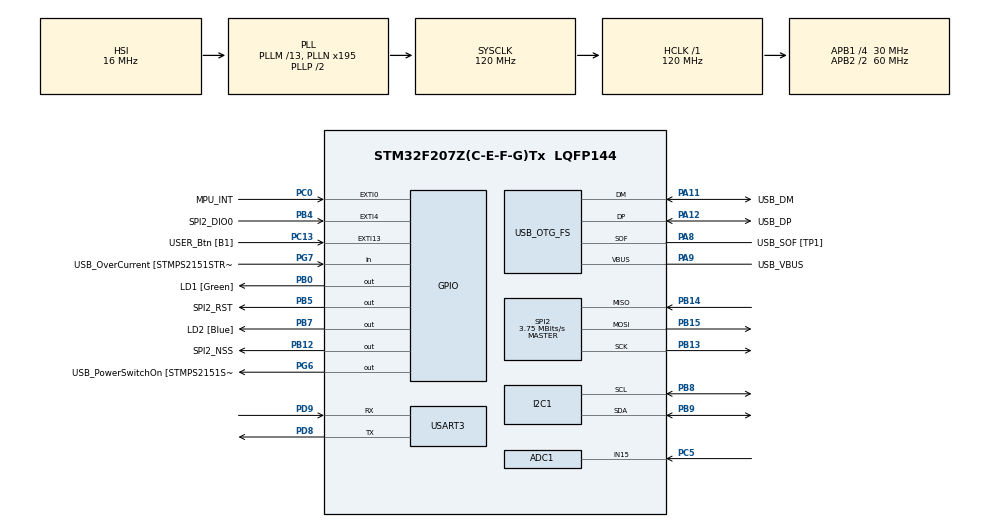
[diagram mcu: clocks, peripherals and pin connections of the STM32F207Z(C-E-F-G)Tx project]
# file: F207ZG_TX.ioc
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ADC1.Channel-0\#ChannelRegularConversion=ADC_CHANNEL_15
ADC1.NbrOfConversionFlag=1
ADC1.Rank-0\#ChannelRegularConversion=1
ADC1.SamplingTime-0\#ChannelRegularConversion=ADC_SAMPLETIME_3CYCLES
ADC1.master=1
Mcu.Family=STM32F2
Mcu.Name=STM32F207Z(C-E-F-G)Tx
Mcu.Package=LQFP144
NVIC.EXTI0_IRQn=true\:0\:0\:false\:false\:true\:true\:true\:true
NVIC.PriorityGroup=NVIC_PRIORITYGROUP_4
PA1.GPIO_Label=RMII_REF_CLK [LAN8742A-CZ-TR_REFCLK0]
PA1.Signal=ETH_REF_CLK
PA10.GPIO_Label=USB_ID
PA10.Signal=USB_OTG_FS_ID
PA11.GPIO_Label=USB_DM
PA11.Mode=Device_Only
PA11.Signal=USB_OTG_FS_DM
PA12.GPIO_Label=USB_DP
PA12.Mode=Device_Only
PA12.Signal=USB_OTG_FS_DP
PA13.GPIO_Label=TMS
PA13.Mode=Serial_Wire
PA13.Signal=SYS_JTMS-SWDIO
PA14.GPIO_Label=TCK
PA14.Mode=Serial_Wire
PA14.Signal=SYS_JTCK-SWCLK
PA2.GPIO_Label=RMII_MDIO [LAN8742A-CZ-TR_MDIO]
PA2.Signal=ETH_MDIO
PA8.GPIO_Label=USB_SOF [TP1]
PA8.Mode=Activate_SOF_FS
PA8.Signal=USB_OTG_FS_SOF
PA9.GPIO_Label=USB_VBUS
PA9.Mode=Activate_VBUS
PA9.Signal=USB_OTG_FS_VBUS
PB0.GPIO_Label=LD1 [Green]
PB0.Signal=GPIO_Output
PB12.GPIO_Label=SPI2_NSS
PB12.Signal=GPIO_Output
PB13.Mode=Full_Duplex_Master
PB13.Signal=SPI2_SCK
PB14.Mode=Full_Duplex_Master
PB14.Signal=SPI2_MISO
PB15.Mode=Full_Duplex_Master
PB15.Signal=SPI2_MOSI
PB3.GPIO_Label=SWO
PB3.Signal=SYS_JTDO-SWO
PB4.GPIO_Label=SPI2_DIO0
PB4.Signal=GPXTI4
PB5.GPIO_Label=SPI2_RST
PB5.Signal=GPIO_Output
PB7.GPIO_Label=LD2 [Blue]
PB7.Signal=GPIO_Output
PB8.Mode=I2C
PB8.Signal=I2C1_SCL
PB9.Mode=I2C
PB9.Signal=I2C1_SDA
PC0.GPIO_Label=MPU_INT
PC0.Signal=GPXTI0
PC1.GPIO_Label=RMII_MDC [LAN8742A-CZ-TR_MDC]
PC1.Signal=ETH_MDC
PC13.GPIO_Label=USER_Btn [B1]
PC13.Signal=GPXTI13
PC14-OSC32_IN.Mode=LSE-External-Oscillator
PC14-OSC32_IN.Signal=RCC_OSC32_IN
PC15-OSC32_OUT.Mode=LSE-External-Oscillator
PC15-OSC32_OUT.Signal=RCC_OSC32_OUT
PC4.GPIO_Label=RMII_RXD0 [LAN8742A-CZ-TR_RXD0]
PC4.Signal=ETH_RXD0
PC5.Signal=ADCx_IN15
PD8.Mode=Asynchronous
PD8.Signal=USART3_TX
PD9.Mode=Asynchronous
PD9.Signal=USART3_RX
PG11.GPIO_Label=RMII_TX_EN [LAN8742A-CZ-TR_TXEN]
PG11.Signal=ETH_TX_EN
PG13.GPIO_Label=RMII_TXD0 [LAN8742A-CZ-TR_TXD0]
PG13.Signal=ETH_TXD0
PG6.GPIO_Label=USB_PowerSwitchOn [STMPS2151STR_EN]
PG6.Signal=GPIO_Output
PG7.GPIO_Label=USB_OverCurrent [STMPS2151STR_FAULT]
PG7.Signal=GPIO_Input
PH0-OSC_IN.GPIO_Label=MCO [STM32F103CBT6_PA8]
PH0-OSC_IN.Mode=HSE-External-Clock-Source
PH0-OSC_IN.Signal=RCC_OSC_IN
PH1-OSC_OUT.Mode=HSE-External-Clock-Source
PH1-OSC_OUT.Signal=RCC_OSC_OUT
ProjectManager.HeapSize=0x200
ProjectManager.StackSize=0x400
ProjectManager.TargetToolchain=STM32CubeIDE
RCC.48MHZClocksFreq_Value=48000000
RCC.AHBFreq_Value=120000000
RCC.APB1CLKDivider=RCC_HCLK_DIV4
RCC.APB1Freq_Value=30000000
RCC.APB1TimFreq_Value=60000000
RCC.APB2CLKDivider=RCC_HCLK_DIV2
RCC.APB2Freq_Value=60000000
RCC.APB2TimFreq_Value=120000000
RCC.CortexFreq_Value=120000000
RCC.HCLKFreq_Value=120000000
RCC.HSE_VALUE=8000000
RCC.HSI_VALUE=16000000
RCC.PLLM=13
RCC.PLLMUL=RCC_PLL_MUL9
RCC.PLLN=195
RCC.PLLQ=5
RCC.PRESCALERUSB=RCC_USBCLKSOURCE_PLL_DIV1_5
RCC.SYSCLKFreq_VALUE=120000000
RCC.SYSCLKSource=RCC_SYSCLKSOURCE_PLLCLK
RCC.SYSCLKSourceVirtual=RCC_SYSCLKSOURCE_PLLCLK
RCC.USBFreq_Value=48000000
RCC.VCOOutputFreq_Value=240000000
SH.ADCx_IN15.0=ADC1_IN15,IN15
SPI2.BaudRatePrescaler=SPI_BAUDRATEPRESCALER_8
SPI2.CRCCalculation=SPI_CRCCALCULATION_DISABLE
SPI2.CalculateBaudRate=3.75 MBits/s
SPI2.Direction=SPI_DIRECTION_2LINES
SPI2.Mode=SPI_MODE_MASTER
SPI2.VirtualType=VM_MASTER
USART3.VirtualMode=VM_ASYNC
USB_OTG_FS.VirtualMode=Device_Only
board=NUCLEO-F207ZG

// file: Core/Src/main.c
/* USER CODE BEGIN Header */
/**
 ******************************************************************************
 * @file           : main.c
 * @brief          : Main program body
 ******************************************************************************
 * @attention
 *
 * Copyright (c) 2026 STMicroelectronics.
 * All rights reserved.
 *
 * This software is licensed under terms that can be found in the LICENSE file
 * in the root directory of this software component.
 * If no LICENSE file comes with this software, it is provided AS-IS.
 *
 ******************************************************************************
 */
/* USER CODE END Header */
#include "main.h"

/* USER CODE BEGIN Includes */
#include "lora.h"
#include "mpu6050.h"
#include <math.h>
#include <stdio.h>
#include <string.h>

/* USER CODE END Includes */

ADC_HandleTypeDef hadc1;

I2C_HandleTypeDef hi2c1;

SPI_HandleTypeDef hspi2;

UART_HandleTypeDef huart3;

PCD_HandleTypeDef hpcd_USB_OTG_FS;

/* USER CODE BEGIN PV */
I2C_HandleTypeDef hi2c1;
MPU6050_t MPU6050;
uint8_t frame[23];
/* USER CODE END PV */

void SystemClock_Config(void);
static void MX_GPIO_Init(void);
static void MX_USART3_UART_Init(void);
static void MX_USB_OTG_FS_PCD_Init(void);
static void MX_I2C1_Init(void);
static void MX_ADC1_Init(void);
static void MX_SPI2_Init(void);
/* USER CODE BEGIN PFP */
void User_Periph_Init(void);
uint16_t crc16(const uint8_t *data, uint16_t len);
/* USER CODE END PFP */

/* USER CODE BEGIN 0 */
uint16_t crc16(const uint8_t *data, uint16_t len) {
  uint16_t crc = 0xFFFF;
  for (uint16_t i = 0; i < len; i++) {
    crc ^= (uint16_t)data[i] << 8;
    for (uint8_t j = 0; j < 8; j++) {
      if (crc & 0x8000)
        crc = (crc << 1) ^ 0x1021;
      else
        crc <<= 1;
    }
  }
  return crc;
}
/* USER CODE END 0 */

int main(void) {

  /* MCU Configuration--------------------------------------------------------*/

  /* Reset of all peripherals, Initializes the Flash interface and the Systick.
   */
  HAL_Init();

  /* Configure the system clock */
  SystemClock_Config();

  /* Initialize all configured peripherals */
  MX_GPIO_Init();
  MX_USART3_UART_Init();

  // Debug: confirm UART is alive
  HAL_UART_Transmit(&huart3, (uint8_t *)"UART OK\r\n", 9, 100);

  MX_USB_OTG_FS_PCD_Init();
  HAL_UART_Transmit(&huart3, (uint8_t *)"USB OK\r\n", 8, 100);

  MX_I2C1_Init();
  HAL_UART_Transmit(&huart3, (uint8_t *)"I2C1 OK\r\n", 9, 100);

  MX_ADC1_Init();
  HAL_UART_Transmit(&huart3, (uint8_t *)"ADC1 OK\r\n", 9, 100);

  MX_SPI2_Init();
  HAL_UART_Transmit(&huart3, (uint8_t *)"SPI2 OK\r\n", 9, 100);

  /* USER CODE BEGIN 2 */
  // Manually initialize I2C1 and Interrupts (since they aren't generated by
  // CubeMX yet)
  User_Periph_Init();
  HAL_UART_Transmit(&huart3, (uint8_t *)"Periph OK\r\n", 11, 100);

  // Debug: read version register raw before full init
  {
    char dbg[64];
    uint8_t ver = SX1278_ReadRegister(0x42);
    sprintf(dbg, "DEBUG: REG_VERSION raw = 0x%02X\r\n", ver);
    HAL_UART_Transmit(&huart3, (uint8_t *)dbg, strlen(dbg), 100);
  }

  // Initialize LoRa
  if (SX1278_Init() == 1) {
    char *msg = "LoRa initialized OK (VERSION=0x12)\r\n";
    HAL_UART_Transmit(&huart3, (uint8_t *)msg, strlen(msg), 100);
  } else {
    char *msg = "LoRa FAILED — SPI not reaching SX1278. Check wiring.\r\n";
    HAL_UART_Transmit(&huart3, (uint8_t *)msg, strlen(msg), 100);
    while (1) {
      HAL_GPIO_TogglePin(GPIOB, LD2_Pin);
      HAL_Delay(200);
    }
  }

  // Initialize MPU6050
  if (MPU6050_Init(&hi2c1) == 1) {
    char *msg2 = "MPU6050 initialized OK\r\n";
    HAL_UART_Transmit(&huart3, (uint8_t *)msg2, strlen(msg2), 100);
  } else {
    char *msg2 = "MPU6050 failed to initialize\r\n";
    HAL_UART_Transmit(&huart3, (uint8_t *)msg2, strlen(msg2), 100);
  }

  // Prepare static parts of the StructEye packet
  frame[0] = 0xAA;
  frame[1] = 0x04; // Node ID (Node 4 = F207ZG)
  frame[2] = 0x00; // Seq (will be updated in loop)
  // Bytes 3-18: IMU data (updated in loop)
  // Bytes 19-20: Status and Alert (updated in loop)
  // Bytes 21-22: CRC-16 over bytes 0-20 (updated in loop, no end byte)
  /* USER CODE END 2 */

  /* Infinite loop */
  /* USER CODE BEGIN WHILE */
  uint8_t seq_num = 0;
  while (1) {
    /* USER CODE END WHILE */

    /* USER CODE BEGIN 3 */
    HAL_UART_Transmit(&huart3, (uint8_t *)"[1]LOOP\r\n", 9, 100);

    char uartMsg[128];

    MPU6050_Read_All(&hi2c1, &MPU6050);
    HAL_UART_Transmit(&huart3, (uint8_t *)"[2]MPU\r\n", 8, 100);

    // Scale raw values
    float accelX = (MPU6050.Accel_X / 16384.0f) * 9.81f;
    float accelY = (MPU6050.Accel_Y / 16384.0f) * 9.81f;
    float accelZ = (MPU6050.Accel_Z / 16384.0f) * 9.81f;

    float gyroX = MPU6050.Gyro_X / 131.0f;
    float gyroY = MPU6050.Gyro_Y / 131.0f;
    float gyroZ = MPU6050.Gyro_Z / 131.0f;

    // Compute metrics
    float vibration =
        sqrtf(accelX * accelX + accelY * accelY + accelZ * accelZ);

    float maxAxis = fabsf(accelX);
    if (fabsf(accelY) > maxAxis)
      maxAxis = fabsf(accelY);
    if (fabsf(accelZ) > maxAxis)
      maxAxis = fabsf(accelZ);

    float tilt = 0.0f;
    if (vibration > 0.1f) {
      tilt = acosf(maxAxis / vibration) * 180.0f / 3.14159265f;
    }

    // Status flags and alert level
    uint8_t status_flags = 0;
    uint8_t alert_level = 0;

    if (vibration > 12.0f)
      status_flags |= (1 << 0);
    if (fabsf(tilt) > 15.0f)
      status_flags |= (1 << 1);
    if (MPU6050.Accel_X == 0 && MPU6050.Accel_Y == 0 && MPU6050.Accel_Z == 0)
      status_flags |= (1 << 2);
    if (seq_num == 0)
      status_flags |= (1 << 3);

    if ((status_flags & 0x03) != 0) {
      alert_level = 2;
    } else if (vibration > 10.0f || fabsf(tilt) > 10.0f) {
      alert_level = 1;
    }

    // Pack 23-byte frame
    frame[2] = seq_num++;

    int16_t ax_s = (int16_t)(accelX * 100);
    int16_t ay_s = (int16_t)(accelY * 100);
    int16_t az_s = (int16_t)(accelZ * 100);
    int16_t gx_s = (int16_t)(gyroX * 100);
    int16_t gy_s = (int16_t)(gyroY * 100);
    int16_t gz_s = (int16_t)(gyroZ * 100);
    uint16_t vib_s = (uint16_t)(vibration * 100);
    int16_t tilt_s = (int16_t)(tilt * 100);

    frame[3] = (ax_s >> 8) & 0xFF;
    frame[4] = ax_s & 0xFF;
    frame[5] = (ay_s >> 8) & 0xFF;
    frame[6] = ay_s & 0xFF;
    frame[7] = (az_s >> 8) & 0xFF;
    frame[8] = az_s & 0xFF;
    frame[9] = (gx_s >> 8) & 0xFF;
    frame[10] = gx_s & 0xFF;
    frame[11] = (gy_s >> 8) & 0xFF;
    frame[12] = gy_s & 0xFF;
    frame[13] = (gz_s >> 8) & 0xFF;
    frame[14] = gz_s & 0xFF;
    frame[15] = (vib_s >> 8) & 0xFF;
    frame[16] = vib_s & 0xFF;
    frame[17] = (tilt_s >> 8) & 0xFF;
    frame[18] = tilt_s & 0xFF;

    frame[19] = status_flags;
    frame[20] = alert_level;

    // CRC Calculation
    uint16_t crc = crc16(frame, 21);
    frame[21] = (crc >> 8) & 0xFF;
    frame[22] = crc & 0xFF;

    HAL_UART_Transmit(&huart3, (uint8_t *)"[3]TX\r\n", 7, 100);
    SX1278_Transmit(frame, 23);

    HAL_UART_Transmit(&huart3, (uint8_t *)"[4]DONE\r\n", 9, 100);

    // Toggle LD1 (Green LED) on PB0 to indicate successful transmit
    HAL_GPIO_TogglePin(GPIOB, GPIO_PIN_0);

    HAL_UART_Transmit(&huart3, (uint8_t *)"[5]WAIT\r\n", 9, 100);
    HAL_Delay(10000);
  }
  /* USER CODE END 3 */
}

void SystemClock_Config(void) {
  RCC_OscInitTypeDef RCC_OscInitStruct = {0};
  RCC_ClkInitTypeDef RCC_ClkInitStruct = {0};

  /** Initializes the RCC Oscillators according to the specified parameters
   * in the RCC_OscInitTypeDef structure.
   */
  RCC_OscInitStruct.OscillatorType = RCC_OSCILLATORTYPE_HSI;
  RCC_OscInitStruct.HSIState = RCC_HSI_ON;
  RCC_OscInitStruct.HSICalibrationValue = RCC_HSICALIBRATION_DEFAULT;
  RCC_OscInitStruct.PLL.PLLState = RCC_PLL_ON;
  RCC_OscInitStruct.PLL.PLLSource = RCC_PLLSOURCE_HSI;
  RCC_OscInitStruct.PLL.PLLM = 13;
  RCC_OscInitStruct.PLL.PLLN = 195;
  RCC_OscInitStruct.PLL.PLLP = RCC_PLLP_DIV2;
  RCC_OscInitStruct.PLL.PLLQ = 5;
  if (HAL_RCC_OscConfig(&RCC_OscInitStruct) != HAL_OK) {
    Error_Handler();
  }

  /** Initializes the CPU, AHB and APB buses clocks
   */
  RCC_ClkInitStruct.ClockType = RCC_CLOCKTYPE_HCLK | RCC_CLOCKTYPE_SYSCLK |
                                RCC_CLOCKTYPE_PCLK1 | RCC_CLOCKTYPE_PCLK2;
  RCC_ClkInitStruct.SYSCLKSource = RCC_SYSCLKSOURCE_PLLCLK;
  RCC_ClkInitStruct.AHBCLKDivider = RCC_SYSCLK_DIV1;
  RCC_ClkInitStruct.APB1CLKDivider = RCC_HCLK_DIV4;
  RCC_ClkInitStruct.APB2CLKDivider = RCC_HCLK_DIV2;

  if (HAL_RCC_ClockConfig(&RCC_ClkInitStruct, FLASH_LATENCY_3) != HAL_OK) {
    Error_Handler();
  }
}

static void MX_ADC1_Init(void) {

  ADC_ChannelConfTypeDef sConfig = {0};

  /** Configure the global features of the ADC (Clock, Resolution, Data
   * Alignment and number of conversion)
   */
  hadc1.Instance = ADC1;
  hadc1.Init.ClockPrescaler = ADC_CLOCK_SYNC_PCLK_DIV2;
  hadc1.Init.Resolution = ADC_RESOLUTION_12B;
  hadc1.Init.ScanConvMode = DISABLE;
  hadc1.Init.ContinuousConvMode = DISABLE;
  hadc1.Init.DiscontinuousConvMode = DISABLE;
  hadc1.Init.ExternalTrigConvEdge = ADC_EXTERNALTRIGCONVEDGE_NONE;
  hadc1.Init.ExternalTrigConv = ADC_SOFTWARE_START;
  hadc1.Init.DataAlign = ADC_DATAALIGN_RIGHT;
  hadc1.Init.NbrOfConversion = 1;
  hadc1.Init.DMAContinuousRequests = DISABLE;
  hadc1.Init.EOCSelection = ADC_EOC_SINGLE_CONV;
  if (HAL_ADC_Init(&hadc1) != HAL_OK) {
    Error_Handler();
  }

  /** Configure for the selected ADC regular channel its corresponding rank in
   * the sequencer and its sample time.
   */
  sConfig.Channel = ADC_CHANNEL_15;
  sConfig.Rank = 1;
  sConfig.SamplingTime = ADC_SAMPLETIME_3CYCLES;
  if (HAL_ADC_ConfigChannel(&hadc1, &sConfig) != HAL_OK) {
    Error_Handler();
  }
}

static void MX_I2C1_Init(void) {

  hi2c1.Instance = I2C1;
  hi2c1.Init.ClockSpeed = 100000;
  hi2c1.Init.DutyCycle = I2C_DUTYCYCLE_2;
  hi2c1.Init.OwnAddress1 = 0;
  hi2c1.Init.AddressingMode = I2C_ADDRESSINGMODE_7BIT;
  hi2c1.Init.DualAddressMode = I2C_DUALADDRESS_DISABLE;
  hi2c1.Init.OwnAddress2 = 0;
  hi2c1.Init.GeneralCallMode = I2C_GENERALCALL_DISABLE;
  hi2c1.Init.NoStretchMode = I2C_NOSTRETCH_DISABLE;
  if (HAL_I2C_Init(&hi2c1) != HAL_OK) {
    Error_Handler();
  }
}

static void MX_SPI2_Init(void) {

  /* SPI2 parameter configuration*/
  hspi2.Instance = SPI2;
  hspi2.Init.Mode = SPI_MODE_MASTER;
  hspi2.Init.Direction = SPI_DIRECTION_2LINES;
  hspi2.Init.DataSize = SPI_DATASIZE_8BIT;
  hspi2.Init.CLKPolarity = SPI_POLARITY_LOW;
  hspi2.Init.CLKPhase = SPI_PHASE_1EDGE;
  hspi2.Init.NSS = SPI_NSS_SOFT;
  hspi2.Init.BaudRatePrescaler = SPI_BAUDRATEPRESCALER_8;
  hspi2.Init.FirstBit = SPI_FIRSTBIT_MSB;
  hspi2.Init.TIMode = SPI_TIMODE_DISABLE;
  hspi2.Init.CRCCalculation = SPI_CRCCALCULATION_DISABLE;
  hspi2.Init.CRCPolynomial = 10;
  if (HAL_SPI_Init(&hspi2) != HAL_OK) {
    Error_Handler();
  }
}

static void MX_USART3_UART_Init(void) {

  huart3.Instance = USART3;
  huart3.Init.BaudRate = 115200;
  huart3.Init.WordLength = UART_WORDLENGTH_8B;
  huart3.Init.StopBits = UART_STOPBITS_1;
  huart3.Init.Parity = UART_PARITY_NONE;
  huart3.Init.Mode = UART_MODE_TX_RX;
  huart3.Init.HwFlowCtl = UART_HWCONTROL_NONE;
  huart3.Init.OverSampling = UART_OVERSAMPLING_16;
  if (HAL_UART_Init(&huart3) != HAL_OK) {
    Error_Handler();
  }
}

static void MX_USB_OTG_FS_PCD_Init(void) {

  hpcd_USB_OTG_FS.Instance = USB_OTG_FS;
  hpcd_USB_OTG_FS.Init.dev_endpoints = 4;
  hpcd_USB_OTG_FS.Init.speed = PCD_SPEED_FULL;
  hpcd_USB_OTG_FS.Init.dma_enable = DISABLE;
  hpcd_USB_OTG_FS.Init.phy_itface = PCD_PHY_EMBEDDED;
  hpcd_USB_OTG_FS.Init.Sof_enable = ENABLE;
  hpcd_USB_OTG_FS.Init.low_power_enable = DISABLE;
  hpcd_USB_OTG_FS.Init.vbus_sensing_enable = ENABLE;
  hpcd_USB_OTG_FS.Init.use_dedicated_ep1 = DISABLE;
  if (HAL_PCD_Init(&hpcd_USB_OTG_FS) != HAL_OK) {
    Error_Handler();
  }
}

static void MX_GPIO_Init(void) {
  GPIO_InitTypeDef GPIO_InitStruct = {0};

  /* GPIO Ports Clock Enable */
  __HAL_RCC_GPIOC_CLK_ENABLE();
  __HAL_RCC_GPIOH_CLK_ENABLE();
  __HAL_RCC_GPIOA_CLK_ENABLE();
  __HAL_RCC_GPIOB_CLK_ENABLE();
  __HAL_RCC_GPIOD_CLK_ENABLE();
  __HAL_RCC_GPIOG_CLK_ENABLE();

  /*Configure GPIO pin Output Level */
  HAL_GPIO_WritePin(GPIOB, LD1_Pin | SPI2_NSS_Pin | SPI2_RST_Pin | LD2_Pin,
                    GPIO_PIN_RESET);

  /*Configure GPIO pin Output Level */
  HAL_GPIO_WritePin(USB_PowerSwitchOn_GPIO_Port, USB_PowerSwitchOn_Pin,
                    GPIO_PIN_RESET);

  /*Configure GPIO pin : USER_Btn_Pin */
  GPIO_InitStruct.Pin = USER_Btn_Pin;
  GPIO_InitStruct.Mode = GPIO_MODE_IT_RISING;
  GPIO_InitStruct.Pull = GPIO_NOPULL;
  HAL_GPIO_Init(USER_Btn_GPIO_Port, &GPIO_InitStruct);

  /*Configure GPIO pin : MPU_INT_Pin (plain input, not interrupt) */
  GPIO_InitStruct.Pin = MPU_INT_Pin;
  GPIO_InitStruct.Mode = GPIO_MODE_INPUT;
  GPIO_InitStruct.Pull = GPIO_NOPULL;
  HAL_GPIO_Init(GPIOC, &GPIO_InitStruct);

  /*Configure GPIO pins : RMII_MDC_Pin RMII_RXD0_Pin */
  GPIO_InitStruct.Pin = RMII_MDC_Pin | RMII_RXD0_Pin;
  GPIO_InitStruct.Mode = GPIO_MODE_AF_PP;
  GPIO_InitStruct.Pull = GPIO_NOPULL;
  GPIO_InitStruct.Speed = GPIO_SPEED_FREQ_VERY_HIGH;
  GPIO_InitStruct.Alternate = GPIO_AF11_ETH;
  HAL_GPIO_Init(GPIOC, &GPIO_InitStruct);

  /*Configure GPIO pins : RMII_REF_CLK_Pin RMII_MDIO_Pin */
  GPIO_InitStruct.Pin = RMII_REF_CLK_Pin | RMII_MDIO_Pin;
  GPIO_InitStruct.Mode = GPIO_MODE_AF_PP;
  GPIO_InitStruct.Pull = GPIO_NOPULL;
  GPIO_InitStruct.Speed = GPIO_SPEED_FREQ_VERY_HIGH;
  GPIO_InitStruct.Alternate = GPIO_AF11_ETH;
  HAL_GPIO_Init(GPIOA, &GPIO_InitStruct);

  /*Configure GPIO pins : LD1_Pin SPI2_NSS_Pin SPI2_RST_Pin LD2_Pin */
  GPIO_InitStruct.Pin = LD1_Pin | SPI2_NSS_Pin | SPI2_RST_Pin | LD2_Pin;
  GPIO_InitStruct.Mode = GPIO_MODE_OUTPUT_PP;
  GPIO_InitStruct.Pull = GPIO_NOPULL;
  GPIO_InitStruct.Speed = GPIO_SPEED_FREQ_LOW;
  HAL_GPIO_Init(GPIOB, &GPIO_InitStruct);

  /*Configure GPIO pin : USB_PowerSwitchOn_Pin */
  GPIO_InitStruct.Pin = USB_PowerSwitchOn_Pin;
  GPIO_InitStruct.Mode = GPIO_MODE_OUTPUT_PP;
  GPIO_InitStruct.Pull = GPIO_NOPULL;
  GPIO_InitStruct.Speed = GPIO_SPEED_FREQ_LOW;
  HAL_GPIO_Init(USB_PowerSwitchOn_GPIO_Port, &GPIO_InitStruct);

  /*Configure GPIO pin : USB_OverCurrent_Pin */
  GPIO_InitStruct.Pin = USB_OverCurrent_Pin;
  GPIO_InitStruct.Mode = GPIO_MODE_INPUT;
  GPIO_InitStruct.Pull = GPIO_NOPULL;
  HAL_GPIO_Init(USB_OverCurrent_GPIO_Port, &GPIO_InitStruct);

  /*Configure GPIO pins : RMII_TX_EN_Pin RMII_TXD0_Pin */
  GPIO_InitStruct.Pin = RMII_TX_EN_Pin | RMII_TXD0_Pin;
  GPIO_InitStruct.Mode = GPIO_MODE_AF_PP;
  GPIO_InitStruct.Pull = GPIO_NOPULL;
  GPIO_InitStruct.Speed = GPIO_SPEED_FREQ_VERY_HIGH;
  GPIO_InitStruct.Alternate = GPIO_AF11_ETH;
  HAL_GPIO_Init(GPIOG, &GPIO_InitStruct);

  /*Configure GPIO pin : SPI2_DIO0_Pin — plain input, polled via SPI */
  GPIO_InitStruct.Pin = SPI2_DIO0_Pin;
  GPIO_InitStruct.Mode = GPIO_MODE_INPUT;
  GPIO_InitStruct.Pull = GPIO_NOPULL;
  HAL_GPIO_Init(SPI2_DIO0_GPIO_Port, &GPIO_InitStruct);

  /* EXTI interrupt init — DISABLED: MPU6050 is polled, not interrupt-driven */
  // HAL_NVIC_SetPriority(EXTI0_IRQn, 0, 0);
  // HAL_NVIC_EnableIRQ(EXTI0_IRQn);

}

/* USER CODE BEGIN 4 */

void User_Periph_Init(void) {
  GPIO_InitTypeDef GPIO_InitStruct = {0};

  /* Enable Clocks */
  __HAL_RCC_SPI2_CLK_ENABLE();
  __HAL_RCC_I2C1_CLK_ENABLE();
  __HAL_RCC_GPIOB_CLK_ENABLE();
  __HAL_RCC_GPIOC_CLK_ENABLE();

  /* I2C1 GPIO Configuration: PB8->SCL, PB9->SDA */
  GPIO_InitStruct.Pin = GPIO_PIN_8 | GPIO_PIN_9;
  GPIO_InitStruct.Mode = GPIO_MODE_AF_OD;
  GPIO_InitStruct.Pull = GPIO_NOPULL;
  GPIO_InitStruct.Speed = GPIO_SPEED_FREQ_VERY_HIGH;
  GPIO_InitStruct.Alternate = GPIO_AF4_I2C1;
  HAL_GPIO_Init(GPIOB, &GPIO_InitStruct);

  /* Initialize I2C1 */
  hi2c1.Instance = I2C1;
  hi2c1.Init.ClockSpeed = 100000;
  hi2c1.Init.DutyCycle = I2C_DUTYCYCLE_2;
  hi2c1.Init.OwnAddress1 = 0;
  hi2c1.Init.AddressingMode = I2C_ADDRESSINGMODE_7BIT;
  hi2c1.Init.DualAddressMode = I2C_DUALADDRESS_DISABLE;
  hi2c1.Init.OwnAddress2 = 0;
  hi2c1.Init.GeneralCallMode = I2C_GENERALCALL_DISABLE;
  hi2c1.Init.NoStretchMode = I2C_NOSTRETCH_DISABLE;
  HAL_I2C_Init(&hi2c1);

  /* LoRa RST (PB5) Output Configuration */
  HAL_GPIO_WritePin(GPIOB, GPIO_PIN_5, GPIO_PIN_RESET);
  GPIO_InitStruct.Pin = GPIO_PIN_5;
  GPIO_InitStruct.Mode = GPIO_MODE_OUTPUT_PP;
  GPIO_InitStruct.Pull = GPIO_NOPULL;
  GPIO_InitStruct.Speed = GPIO_SPEED_FREQ_LOW;
  HAL_GPIO_Init(GPIOB, &GPIO_InitStruct);

  /* LoRa NSS / CS (PB12) Output Configuration (starts HIGH) */
  HAL_GPIO_WritePin(GPIOB, GPIO_PIN_12, GPIO_PIN_SET);
  GPIO_InitStruct.Pin = GPIO_PIN_12;
  GPIO_InitStruct.Mode = GPIO_MODE_OUTPUT_PP;
  GPIO_InitStruct.Pull = GPIO_NOPULL;
  GPIO_InitStruct.Speed = GPIO_SPEED_FREQ_LOW;
  HAL_GPIO_Init(GPIOB, &GPIO_InitStruct);

  /* SPI2 GPIO Configuration: PB13->SCK, PB14->MISO, PB15->MOSI */
  GPIO_InitStruct.Pin = GPIO_PIN_13 | GPIO_PIN_14 | GPIO_PIN_15;
  GPIO_InitStruct.Mode = GPIO_MODE_AF_PP;
  GPIO_InitStruct.Pull = GPIO_NOPULL;
  GPIO_InitStruct.Speed = GPIO_SPEED_FREQ_VERY_HIGH;
  GPIO_InitStruct.Alternate = GPIO_AF5_SPI2;
  HAL_GPIO_Init(GPIOB, &GPIO_InitStruct);

  /* LoRa DIO0 (PB4) — plain input, polled via SPI register */
  GPIO_InitStruct.Pin = GPIO_PIN_4;
  GPIO_InitStruct.Mode = GPIO_MODE_INPUT;
  GPIO_InitStruct.Pull = GPIO_NOPULL;
  HAL_GPIO_Init(GPIOB, &GPIO_InitStruct);

  /* MPU6050 INT (PC0) — plain input, we poll via I2C */
  GPIO_InitStruct.Pin = GPIO_PIN_0;
  GPIO_InitStruct.Mode = GPIO_MODE_INPUT;
  GPIO_InitStruct.Pull = GPIO_NOPULL;
  HAL_GPIO_Init(GPIOC, &GPIO_InitStruct);

  /* No EXTI needed — all peripherals are polled */
}
/* USER CODE END 4 */

void Error_Handler(void) {
  __disable_irq();
  while (1) {
  }
}
#ifdef USE_FULL_ASSERT
/**
 * @brief  Reports the name of the source file and the source line number
 *         where the assert_param error has occurred.
 * @param  file: pointer to the source file name
 * @param  line: assert_param error line source number
 * @retval None
 */
void assert_failed(uint8_t *file, uint32_t line) {
  /* USER CODE BEGIN 6 */
  /* User can add his own implementation to report the file name and line
     number, ex: printf("Wrong parameters value: file %s on line %d\r\n", file,
     line) */
  /* USER CODE END 6 */
}
#endif /* USE_FULL_ASSERT */
// new
